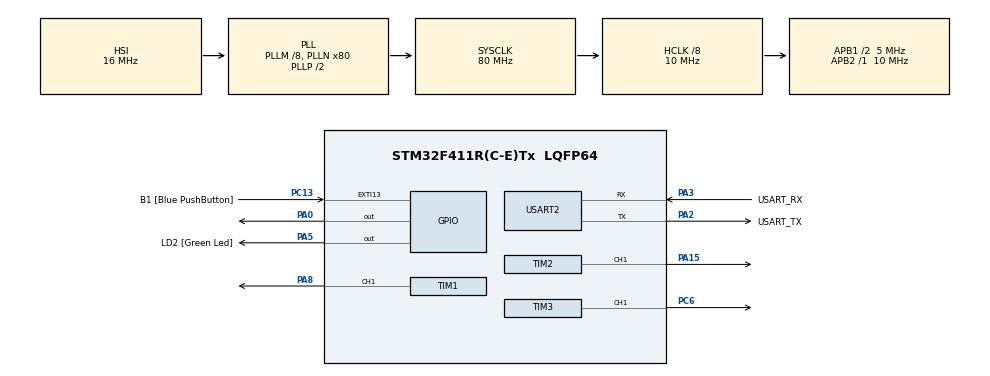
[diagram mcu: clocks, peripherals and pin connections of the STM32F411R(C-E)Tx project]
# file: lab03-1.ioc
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Mcu.Family=STM32F4
Mcu.Name=STM32F411R(C-E)Tx
Mcu.Package=LQFP64
NVIC.EXTI15_10_IRQn=true\:2\:0\:true\:false\:true\:true\:true\:true
NVIC.PriorityGroup=NVIC_PRIORITYGROUP_2
NVIC.TIM1_BRK_TIM9_IRQn=true\:2\:0\:true\:false\:true\:true\:true\:true
NVIC.TIM1_CC_IRQn=true\:2\:0\:true\:false\:true\:true\:true\:true
NVIC.TIM1_TRG_COM_TIM11_IRQn=true\:2\:0\:true\:false\:true\:true\:true\:true
NVIC.TIM1_UP_TIM10_IRQn=true\:2\:0\:true\:false\:true\:true\:true\:true
NVIC.TIM2_IRQn=true\:2\:0\:true\:false\:true\:true\:true\:true
NVIC.TIM3_IRQn=true\:2\:0\:true\:false\:true\:true\:true\:true
PA0-WKUP.Signal=GPIO_Output
PA13.GPIO_Label=TMS
PA13.Mode=Serial_Wire
PA13.Signal=SYS_JTMS-SWDIO
PA14.GPIO_Label=TCK
PA14.Mode=Serial_Wire
PA14.Signal=SYS_JTCK-SWCLK
PA15.Signal=S_TIM2_CH1_ETR
PA2.GPIO_Label=USART_TX
PA2.Mode=Asynchronous
PA2.Signal=USART2_TX
PA3.GPIO_Label=USART_RX
PA3.Mode=Asynchronous
PA3.Signal=USART2_RX
PA5.GPIO_Label=LD2 [Green Led]
PA5.Signal=GPIO_Output
PA8.Signal=S_TIM1_CH1
PB3.GPIO_Label=SWO
PB3.Signal=SYS_JTDO-SWO
PC13-ANTI_TAMP.GPIO_Label=B1 [Blue PushButton]
PC13-ANTI_TAMP.GPIO_ModeDefaultEXTI=GPIO_MODE_IT_RISING_FALLING
PC13-ANTI_TAMP.Signal=GPXTI13
PC14-OSC32_IN.Mode=LSE-External-Oscillator
PC14-OSC32_IN.Signal=RCC_OSC32_IN
PC15-OSC32_OUT.Mode=LSE-External-Oscillator
PC15-OSC32_OUT.Signal=RCC_OSC32_OUT
PC6.Signal=S_TIM3_CH1
PH0\ -\ OSC_IN.Mode=HSE-External-Clock-Source
PH0\ -\ OSC_IN.Signal=RCC_OSC_IN
PH1\ -\ OSC_OUT.Mode=HSE-External-Clock-Source
PH1\ -\ OSC_OUT.Signal=RCC_OSC_OUT
ProjectManager.HeapSize=0x200
ProjectManager.StackSize=0x400
ProjectManager.TargetToolchain=STM32CubeIDE
RCC.48MHZClocksFreq_Value=40000000
RCC.AHBCLKDivider=RCC_SYSCLK_DIV8
RCC.AHBFreq_Value=10000000
RCC.APB1CLKDivider=RCC_HCLK_DIV2
RCC.APB1Freq_Value=5000000
RCC.APB1TimFreq_Value=10000000
RCC.APB2Freq_Value=10000000
RCC.APB2TimFreq_Value=10000000
RCC.CortexFreq_Value=10000000
RCC.FLatency-AdvancedSettings=FLASH_LATENCY_0
RCC.HCLKFreq_Value=10000000
RCC.HSE_VALUE=8000000
RCC.HSI_VALUE=16000000
RCC.PLLM=8
RCC.PLLN=80
RCC.SYSCLKFreq_VALUE=80000000
RCC.SYSCLKSource=RCC_SYSCLKSOURCE_PLLCLK
RCC.VCOOutputFreq_Value=160000000
SH.S_TIM1_CH1.0=TIM1_CH1,PWM Generation1 CH1
SH.S_TIM2_CH1_ETR.0=TIM2_CH1,PWM Generation1 CH1
SH.S_TIM3_CH1.0=TIM3_CH1,PWM Generation1 CH1
TIM1.AutoReloadPreload=TIM_AUTORELOAD_PRELOAD_ENABLE
TIM1.Channel-PWM\ Generation1\ CH1=TIM_CHANNEL_1
TIM1.Period=499
TIM1.Prescaler=9999
TIM1.Pulse-PWM\ Generation1\ CH1=250
TIM2.Channel-PWM\ Generation1\ CH1=TIM_CHANNEL_1
TIM2.Period=4904
TIM2.Prescaler=999
TIM2.Pulse-PWM\ Generation1\ CH1=2452
TIM3.Channel-PWM\ Generation1\ CH1=TIM_CHANNEL_1
TIM3.Period=9998
TIM3.Prescaler=999
TIM3.Pulse-PWM\ Generation1\ CH1=4999
USART2.VirtualMode=VM_ASYNC
VP_TIM1_VS_ClockSourceINT.Mode=Internal
VP_TIM2_VS_ClockSourceINT.Mode=Internal
VP_TIM3_VS_ClockSourceINT.Mode=Internal
board=NUCLEO-F411RE

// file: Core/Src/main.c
/* USER CODE BEGIN Header */
/**
 ******************************************************************************
 * @file           : main.c
 * @brief          : Main program body
 ******************************************************************************
 * @attention
 *
 * Copyright (c) 2024 STMicroelectronics.
 * All rights reserved.
 *
 * This software is licensed under terms that can be found in the LICENSE file
 * in the root directory of this software component.
 * If no LICENSE file comes with this software, it is provided AS-IS.
 *
 ******************************************************************************
 */
/* USER CODE END Header */
#include "main.h"

TIM_HandleTypeDef htim1;
TIM_HandleTypeDef htim2;
TIM_HandleTypeDef htim3;

UART_HandleTypeDef huart2;

void SystemClock_Config(void);
static void MX_GPIO_Init(void);
static void MX_USART2_UART_Init(void);
static void MX_TIM1_Init(void);
static void MX_TIM2_Init(void);
static void MX_TIM3_Init(void);

/* USER CODE BEGIN 0 */
int internalLEDEdgeCount = 0;
int externalLEDCount = 0;
int currentColor = 32;

void HAL_TIM_PeriodElapsedCallback(TIM_HandleTypeDef *htim) {
	if (htim == &htim1) {
		HAL_GPIO_TogglePin(GPIOA, GPIO_PIN_5);
		internalLEDEdgeCount += 1;
	} else if (htim == &htim2) {
		HAL_GPIO_TogglePin(GPIOA, GPIO_PIN_0);
		externalLEDCount += 1;
	} else if (htim == &htim3) {
		int currentTime = HAL_GetTick();
		char *message = (char*) malloc(sizeof(char) * 100);
		sprintf(message, "\e[0;%dmTime: %d, Internal LED: %d, External LED: %d\e[0m\r\n",
				currentColor, currentTime, internalLEDEdgeCount / 2, externalLEDCount/2);
		HAL_UART_Transmit(&huart2, message, strlen(message), 100);
		free(message);

	}
}
/* USER CODE END 0 */

int main(void)
{

  /* MCU Configuration--------------------------------------------------------*/

  /* Reset of all peripherals, Initializes the Flash interface and the Systick. */
  HAL_Init();

  /* Configure the system clock */
  SystemClock_Config();

  /* Initialize all configured peripherals */
  MX_GPIO_Init();
  MX_USART2_UART_Init();
  MX_TIM1_Init();
  MX_TIM2_Init();
  MX_TIM3_Init();
  /* USER CODE BEGIN 2 */
  HAL_TIM_Base_Start_IT(&htim1);
  HAL_TIM_Base_Start_IT(&htim2);
  HAL_TIM_Base_Start_IT(&htim3);
  /* USER CODE END 2 */

  /* Infinite loop */
	while (1) {

	}
}

void SystemClock_Config(void)
{
  RCC_OscInitTypeDef RCC_OscInitStruct = {0};
  RCC_ClkInitTypeDef RCC_ClkInitStruct = {0};

  /** Configure the main internal regulator output voltage
  */
  __HAL_RCC_PWR_CLK_ENABLE();
  __HAL_PWR_VOLTAGESCALING_CONFIG(PWR_REGULATOR_VOLTAGE_SCALE1);

  /** Initializes the RCC Oscillators according to the specified parameters
  * in the RCC_OscInitTypeDef structure.
  */
  RCC_OscInitStruct.OscillatorType = RCC_OSCILLATORTYPE_HSI;
  RCC_OscInitStruct.HSIState = RCC_HSI_ON;
  RCC_OscInitStruct.HSICalibrationValue = RCC_HSICALIBRATION_DEFAULT;
  RCC_OscInitStruct.PLL.PLLState = RCC_PLL_ON;
  RCC_OscInitStruct.PLL.PLLSource = RCC_PLLSOURCE_HSI;
  RCC_OscInitStruct.PLL.PLLM = 8;
  RCC_OscInitStruct.PLL.PLLN = 80;
  RCC_OscInitStruct.PLL.PLLP = RCC_PLLP_DIV2;
  RCC_OscInitStruct.PLL.PLLQ = 4;
  if (HAL_RCC_OscConfig(&RCC_OscInitStruct) != HAL_OK)
  {
    Error_Handler();
  }

  /** Initializes the CPU, AHB and APB buses clocks
  */
  RCC_ClkInitStruct.ClockType = RCC_CLOCKTYPE_HCLK|RCC_CLOCKTYPE_SYSCLK
                              |RCC_CLOCKTYPE_PCLK1|RCC_CLOCKTYPE_PCLK2;
  RCC_ClkInitStruct.SYSCLKSource = RCC_SYSCLKSOURCE_PLLCLK;
  RCC_ClkInitStruct.AHBCLKDivider = RCC_SYSCLK_DIV8;
  RCC_ClkInitStruct.APB1CLKDivider = RCC_HCLK_DIV2;
  RCC_ClkInitStruct.APB2CLKDivider = RCC_HCLK_DIV1;

  if (HAL_RCC_ClockConfig(&RCC_ClkInitStruct, FLASH_LATENCY_0) != HAL_OK)
  {
    Error_Handler();
  }
}

static void MX_TIM1_Init(void)
{

  TIM_ClockConfigTypeDef sClockSourceConfig = {0};
  TIM_MasterConfigTypeDef sMasterConfig = {0};
  TIM_OC_InitTypeDef sConfigOC = {0};
  TIM_BreakDeadTimeConfigTypeDef sBreakDeadTimeConfig = {0};

  htim1.Instance = TIM1;
  htim1.Init.Prescaler = 9999;
  htim1.Init.CounterMode = TIM_COUNTERMODE_UP;
  htim1.Init.Period = 499;
  htim1.Init.ClockDivision = TIM_CLOCKDIVISION_DIV1;
  htim1.Init.RepetitionCounter = 0;
  htim1.Init.AutoReloadPreload = TIM_AUTORELOAD_PRELOAD_ENABLE;
  if (HAL_TIM_Base_Init(&htim1) != HAL_OK)
  {
    Error_Handler();
  }
  sClockSourceConfig.ClockSource = TIM_CLOCKSOURCE_INTERNAL;
  if (HAL_TIM_ConfigClockSource(&htim1, &sClockSourceConfig) != HAL_OK)
  {
    Error_Handler();
  }
  if (HAL_TIM_PWM_Init(&htim1) != HAL_OK)
  {
    Error_Handler();
  }
  sMasterConfig.MasterOutputTrigger = TIM_TRGO_RESET;
  sMasterConfig.MasterSlaveMode = TIM_MASTERSLAVEMODE_DISABLE;
  if (HAL_TIMEx_MasterConfigSynchronization(&htim1, &sMasterConfig) != HAL_OK)
  {
    Error_Handler();
  }
  sConfigOC.OCMode = TIM_OCMODE_PWM1;
  sConfigOC.Pulse = 250;
  sConfigOC.OCPolarity = TIM_OCPOLARITY_HIGH;
  sConfigOC.OCNPolarity = TIM_OCNPOLARITY_HIGH;
  sConfigOC.OCFastMode = TIM_OCFAST_DISABLE;
  sConfigOC.OCIdleState = TIM_OCIDLESTATE_RESET;
  sConfigOC.OCNIdleState = TIM_OCNIDLESTATE_RESET;
  if (HAL_TIM_PWM_ConfigChannel(&htim1, &sConfigOC, TIM_CHANNEL_1) != HAL_OK)
  {
    Error_Handler();
  }
  sBreakDeadTimeConfig.OffStateRunMode = TIM_OSSR_DISABLE;
  sBreakDeadTimeConfig.OffStateIDLEMode = TIM_OSSI_DISABLE;
  sBreakDeadTimeConfig.LockLevel = TIM_LOCKLEVEL_OFF;
  sBreakDeadTimeConfig.DeadTime = 0;
  sBreakDeadTimeConfig.BreakState = TIM_BREAK_DISABLE;
  sBreakDeadTimeConfig.BreakPolarity = TIM_BREAKPOLARITY_HIGH;
  sBreakDeadTimeConfig.AutomaticOutput = TIM_AUTOMATICOUTPUT_DISABLE;
  if (HAL_TIMEx_ConfigBreakDeadTime(&htim1, &sBreakDeadTimeConfig) != HAL_OK)
  {
    Error_Handler();
  }
  /* USER CODE BEGIN TIM1_Init 2 */

	HAL_TIM_PWM_Start(&htim1, TIM_CHANNEL_1);
  /* USER CODE END TIM1_Init 2 */
  HAL_TIM_MspPostInit(&htim1);

}

static void MX_TIM2_Init(void)
{

  TIM_ClockConfigTypeDef sClockSourceConfig = {0};
  TIM_MasterConfigTypeDef sMasterConfig = {0};
  TIM_OC_InitTypeDef sConfigOC = {0};

  htim2.Instance = TIM2;
  htim2.Init.Prescaler = 999;
  htim2.Init.CounterMode = TIM_COUNTERMODE_UP;
  htim2.Init.Period = 4904;
  htim2.Init.ClockDivision = TIM_CLOCKDIVISION_DIV1;
  htim2.Init.AutoReloadPreload = TIM_AUTORELOAD_PRELOAD_DISABLE;
  if (HAL_TIM_Base_Init(&htim2) != HAL_OK)
  {
    Error_Handler();
  }
  sClockSourceConfig.ClockSource = TIM_CLOCKSOURCE_INTERNAL;
  if (HAL_TIM_ConfigClockSource(&htim2, &sClockSourceConfig) != HAL_OK)
  {
    Error_Handler();
  }
  if (HAL_TIM_PWM_Init(&htim2) != HAL_OK)
  {
    Error_Handler();
  }
  sMasterConfig.MasterOutputTrigger = TIM_TRGO_RESET;
  sMasterConfig.MasterSlaveMode = TIM_MASTERSLAVEMODE_DISABLE;
  if (HAL_TIMEx_MasterConfigSynchronization(&htim2, &sMasterConfig) != HAL_OK)
  {
    Error_Handler();
  }
  sConfigOC.OCMode = TIM_OCMODE_PWM1;
  sConfigOC.Pulse = 2452;
  sConfigOC.OCPolarity = TIM_OCPOLARITY_HIGH;
  sConfigOC.OCFastMode = TIM_OCFAST_DISABLE;
  if (HAL_TIM_PWM_ConfigChannel(&htim2, &sConfigOC, TIM_CHANNEL_1) != HAL_OK)
  {
    Error_Handler();
  }
  HAL_TIM_MspPostInit(&htim2);

}

static void MX_TIM3_Init(void)
{

  TIM_ClockConfigTypeDef sClockSourceConfig = {0};
  TIM_MasterConfigTypeDef sMasterConfig = {0};
  TIM_OC_InitTypeDef sConfigOC = {0};

  htim3.Instance = TIM3;
  htim3.Init.Prescaler = 999;
  htim3.Init.CounterMode = TIM_COUNTERMODE_UP;
  htim3.Init.Period = 9998;
  htim3.Init.ClockDivision = TIM_CLOCKDIVISION_DIV1;
  htim3.Init.AutoReloadPreload = TIM_AUTORELOAD_PRELOAD_DISABLE;
  if (HAL_TIM_Base_Init(&htim3) != HAL_OK)
  {
    Error_Handler();
  }
  sClockSourceConfig.ClockSource = TIM_CLOCKSOURCE_INTERNAL;
  if (HAL_TIM_ConfigClockSource(&htim3, &sClockSourceConfig) != HAL_OK)
  {
    Error_Handler();
  }
  if (HAL_TIM_PWM_Init(&htim3) != HAL_OK)
  {
    Error_Handler();
  }
  sMasterConfig.MasterOutputTrigger = TIM_TRGO_RESET;
  sMasterConfig.MasterSlaveMode = TIM_MASTERSLAVEMODE_DISABLE;
  if (HAL_TIMEx_MasterConfigSynchronization(&htim3, &sMasterConfig) != HAL_OK)
  {
    Error_Handler();
  }
  sConfigOC.OCMode = TIM_OCMODE_PWM1;
  sConfigOC.Pulse = 4999;
  sConfigOC.OCPolarity = TIM_OCPOLARITY_HIGH;
  sConfigOC.OCFastMode = TIM_OCFAST_DISABLE;
  if (HAL_TIM_PWM_ConfigChannel(&htim3, &sConfigOC, TIM_CHANNEL_1) != HAL_OK)
  {
    Error_Handler();
  }
  HAL_TIM_MspPostInit(&htim3);

}

static void MX_USART2_UART_Init(void)
{

  huart2.Instance = USART2;
  huart2.Init.BaudRate = 115200;
  huart2.Init.WordLength = UART_WORDLENGTH_8B;
  huart2.Init.StopBits = UART_STOPBITS_1;
  huart2.Init.Parity = UART_PARITY_NONE;
  huart2.Init.Mode = UART_MODE_TX_RX;
  huart2.Init.HwFlowCtl = UART_HWCONTROL_NONE;
  huart2.Init.OverSampling = UART_OVERSAMPLING_16;
  if (HAL_UART_Init(&huart2) != HAL_OK)
  {
    Error_Handler();
  }

}

static void MX_GPIO_Init(void)
{
  GPIO_InitTypeDef GPIO_InitStruct = {0};

  /* GPIO Ports Clock Enable */
  __HAL_RCC_GPIOC_CLK_ENABLE();
  __HAL_RCC_GPIOH_CLK_ENABLE();
  __HAL_RCC_GPIOA_CLK_ENABLE();
  __HAL_RCC_GPIOB_CLK_ENABLE();

  /*Configure GPIO pin Output Level */
  HAL_GPIO_WritePin(GPIOA, GPIO_PIN_0|LD2_Pin, GPIO_PIN_RESET);

  /*Configure GPIO pin : B1_Pin */
  GPIO_InitStruct.Pin = B1_Pin;
  GPIO_InitStruct.Mode = GPIO_MODE_IT_RISING_FALLING;
  GPIO_InitStruct.Pull = GPIO_NOPULL;
  HAL_GPIO_Init(B1_GPIO_Port, &GPIO_InitStruct);

  /*Configure GPIO pins : PA0 LD2_Pin */
  GPIO_InitStruct.Pin = GPIO_PIN_0|LD2_Pin;
  GPIO_InitStruct.Mode = GPIO_MODE_OUTPUT_PP;
  GPIO_InitStruct.Pull = GPIO_NOPULL;
  GPIO_InitStruct.Speed = GPIO_SPEED_FREQ_LOW;
  HAL_GPIO_Init(GPIOA, &GPIO_InitStruct);

  /* EXTI interrupt init*/
  HAL_NVIC_SetPriority(EXTI15_10_IRQn, 2, 0);
  HAL_NVIC_EnableIRQ(EXTI15_10_IRQn);

}

void Error_Handler(void)
{
	__disable_irq();
	while (1) {
	}
}
